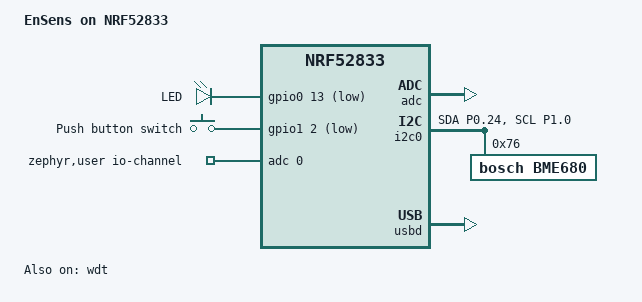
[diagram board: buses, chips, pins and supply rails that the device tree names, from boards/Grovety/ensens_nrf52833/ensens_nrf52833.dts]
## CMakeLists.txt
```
# SPDX-License-Identifier: Apache-2.0

cmake_minimum_required(VERSION 3.20.0)

# Add path to the extra module bme68x_iaq
list(APPEND ZEPHYR_EXTRA_MODULES
  ${CMAKE_CURRENT_SOURCE_DIR}/drivers/sensor
)

find_package(Zephyr REQUIRED HINTS $ENV{ZEPHYR_BASE})

project(EnvironmentalSensor)

target_sources(app PRIVATE src/main.cxx src/ble.c src/led.c src/sensor.cxx src/battery.c)
```

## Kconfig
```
#
# Copyright (c) 2023 Nordic Semiconductor
#
# SPDX-License-Identifier: LicenseRef-Nordic-5-Clause
#

menu "Zephyr"
    source "Kconfig.zephyr"
endmenu

menu "Custom drivers"
    rsource "drivers/Kconfig"
endmenu

module = APP
module-str = APP
source "subsys/logging/Kconfig.template.log_config"
```

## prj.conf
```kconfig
CONFIG_BT=y
CONFIG_BT_SMP=y
CONFIG_BT_SIGNING=y
CONFIG_BT_PERIPHERAL=y
CONFIG_BT_DIS=y
CONFIG_BT_BAS=y
CONFIG_BT_ATT_PREPARE_COUNT=1
CONFIG_BT_PRIVACY=y
CONFIG_BT_CTLR_PHY_2M=n
CONFIG_BT_KEYS_OVERWRITE_OLDEST=y
CONFIG_BT_MAX_CONN=4

CONFIG_BT_DIS_PNP=n
CONFIG_BT_DIS_MODEL="Enviromental sense"
CONFIG_BT_DIS_MANUF="Grovety Inc"
CONFIG_BT_DIS_SERIAL_NUMBER=n
CONFIG_BT_DIS_FW_REV=y
CONFIG_BT_DIS_HW_REV=y
CONFIG_BT_DIS_FW_REV_STR="0.1"
CONFIG_BT_DIS_HW_REV_STR="0.1"
CONFIG_BT_DEVICE_NAME="ES_"
CONFIG_BT_DEVICE_NAME_DYNAMIC=y
CONFIG_BT_DEVICE_NAME_MAX=16
CONFIG_BT_DEVICE_APPEARANCE=768

CONFIG_FLASH=y
CONFIG_FLASH_PAGE_LAYOUT=y
CONFIG_FLASH_MAP=y
CONFIG_NVS=y
CONFIG_SETTINGS=y
CONFIG_POWEROFF=y
CONFIG_ADC=y
CONFIG_SETTINGS_FCB=y
CONFIG_FCB=y
CONFIG_STREAM_FLASH=y
CONFIG_MPU_ALLOW_FLASH_WRITE=y
CONFIG_ASSERT=y
CONFIG_FPU=y
CONFIG_GPIO=y
CONFIG_PM_DEVICE=y
CONFIG_HW_ID_LIBRARY=y
CONFIG_LOG=y

CONFIG_SENSOR=y
CONFIG_SENSOR_INFO=y
CONFIG_BME680=n
CONFIG_I2C=y
CONFIG_CUSTOM_BME68X_IAQ=y
CONFIG_BME68X_IAQ_SAMPLE_RATE_QUICK_ULTRA_LOW_POWER=y

# Enable MCUboot
CONFIG_BOOTLOADER_MCUBOOT=y
# Enable USB subsystem
CONFIG_USB_DEVICE_STACK=y
CONFIG_USB_CDC_ACM_LOG_LEVEL_OFF=y
CONFIG_USB_DEVICE_INITIALIZE_AT_BOOT=n
CONFIG_UART_LINE_CTRL=y
CONFIG_UART_CONSOLE=y
```

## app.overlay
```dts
/*
 * SPDX-License-Identifier: Apache-2.0
 */

/* Choose CDC ACM for console */
/ {
	chosen {
		zephyr,console = &cdc_acm_uart0;
	};
};

/* Configure CDC ACM */
&zephyr_udc0 {
	cdc_acm_uart0: cdc_acm_uart0 {
		compatible = "zephyr,cdc-acm-uart";
	};
};
```

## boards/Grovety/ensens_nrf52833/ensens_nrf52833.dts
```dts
/*
 * Copyright (c) 2025 Grovety Inc
 *
 * SPDX-License-Identifier: Apache-2.0
 */

/dts-v1/;
#include <nordic/nrf52833_qiaa.dtsi>
#include <zephyr/dt-bindings/input/input-event-codes.h>

/ {
	model = "EnSens on NRF52833";
	compatible = "grovety,ensens-nrf52833";

	soc {
		compatible = "nordic,nrf52833",
					 "nordic,nrf52", "simple-bus";
	};

	chosen {
		zephyr,sram = &sram0;
		zephyr,flash = &flash0;
		zephyr,code-partition = &slot0_partition;
	};

	leds {
		compatible = "gpio-leds";
		led0: led_0 {
			gpios = <&gpio0 13 GPIO_ACTIVE_LOW>;
			label = "LED";
		};
	};

	buttons {
		compatible = "gpio-keys";
		button0: button_0 {
			gpios = <&gpio1 2 (GPIO_PULL_UP | GPIO_ACTIVE_LOW)>;
			label = "Push button switch";
		};
	};

	/* These aliases are provided for compatibility with samples */
	aliases {
		led0 = &led0;
		watchdog0 = &wdt0;
		i2c0 = &i2c0;
	};

	zephyr,user {
		io-channels = <&adc 0>;
	};
};

&adc {
	status = "okay";
};

&uicr {
	gpio-as-nreset;
};

&gpiote {
	status = "okay";
};

&gpio0 {
	status = "okay";
};

&gpio1 {
	status = "okay";
};


&i2c0 {

	status = "okay";
	compatible = "nordic,nrf-twim";
	pinctrl-0 = <&i2c0_default>;
	pinctrl-1 = <&i2c0_sleep>;
	pinctrl-names = "default", "sleep";
	bme680: bme680@76 {
		compatible = "bosch,bme680";
		reg = <0x76>;
	};
};

&pinctrl {
	i2c0_default: i2c0_default {
		group1 {
			psels = <NRF_PSEL(TWIM_SDA, 0, 24)>,
					<NRF_PSEL(TWIM_SCL, 1, 0)>;
		};
	};

	i2c0_sleep: i2c0_sleep {
		group1 {
			psels = <NRF_PSEL(TWIM_SDA, 0, 24)>,
					<NRF_PSEL(TWIM_SCL, 1, 0)>;
			low-power-enable;
		};
	};
};

&flash0 {
	partitions {
		compatible = "fixed-partitions";
		#address-cells = <1>;
		#size-cells = <1>;

		boot_partition: partition@0 {
			label = "mcuboot";
			reg = <0x00000000 0xC000>;
		};
		slot0_partition: partition@c000 {
			label = "image-0";
			reg = <0x0000C000 0x37000>;
		};
		slot1_partition: partition@43000 {
			label = "image-1";
			reg = <0x00043000 0x37000>;
		};
		storage_partition: partition@7a000 {
			label = "storage";
			reg = <0x0007A000 0x00006000>;
		};
	};
};

&wdt {
	status = "okay";
};

zephyr_udc0: &usbd {
	compatible = "nordic,nrf-usbd";
	status = "okay";
};
```

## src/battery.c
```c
/*
 * Copyright (c) 2018-2019 Peter Bigot Consulting, LLC
 * Copyright (c) 2019-2020 Nordic Semiconductor ASA
 *
 * SPDX-License-Identifier: Apache-2.0
 */

#include <math.h>
#include <stdio.h>
#include <stdlib.h>

#include <zephyr/kernel.h>
#include <zephyr/init.h>
#include <zephyr/drivers/gpio.h>
#include <zephyr/drivers/adc.h>
#include <zephyr/drivers/sensor.h>
#include <zephyr/logging/log.h>

#include "battery.h"

LOG_MODULE_REGISTER(BATTERY, CONFIG_ADC_LOG_LEVEL);

#define VBATT DT_PATH(vbatt)
#define ZEPHYR_USER DT_PATH(zephyr_user)

#ifdef CONFIG_BOARD_THINGY52_NRF52832
/* This board uses a divider that reduces max voltage to
 * reference voltage (600 mV).
 */
#define BATTERY_ADC_GAIN ADC_GAIN_1
#else
/* Other boards may use dividers that only reduce battery voltage to
 * the maximum supported by the hardware (3.6 V)
 */
#define BATTERY_ADC_GAIN ADC_GAIN_1_6
#endif

struct io_channel_config
{
	uint8_t channel;
};

struct divider_config
{
	struct io_channel_config io_channel;
	struct gpio_dt_spec power_gpios;
	/* output_ohm is used as a flag value: if it is nonzero then
	 * the battery is measured through a voltage divider;
	 * otherwise it is assumed to be directly connected to Vdd.
	 */
	uint32_t output_ohm;
	uint32_t full_ohm;
};

static const struct divider_config divider_config = {
#if DT_NODE_HAS_STATUS_OKAY(VBATT)
	.io_channel = {
		DT_IO_CHANNELS_INPUT(VBATT),
	},
	.power_gpios = GPIO_DT_SPEC_GET_OR(VBATT, power_gpios, {}),
	.output_ohm = DT_PROP(VBATT, output_ohms),
	.full_ohm = DT_PROP(VBATT, full_ohms),
#else  /* /vbatt exists */
	.io_channel = {
		DT_IO_CHANNELS_INPUT(ZEPHYR_USER),
	},
#endif /* /vbatt exists */
};

struct divider_data
{
	const struct device *adc;
	struct adc_channel_cfg adc_cfg;
	struct adc_sequence adc_seq;
	int16_t raw;
};
static struct divider_data divider_data = {
#if DT_NODE_HAS_STATUS_OKAY(VBATT)
	.adc = DEVICE_DT_GET(DT_IO_CHANNELS_CTLR(VBATT)),
#else
	.adc = DEVICE_DT_GET(DT_IO_CHANNELS_CTLR(ZEPHYR_USER)),
#endif
};

static int divider_setup(void)
{
	const struct divider_config *cfg = &divider_config;
	const struct io_channel_config *iocp = &cfg->io_channel;
	const struct gpio_dt_spec *gcp = &cfg->power_gpios;
	struct divider_data *ddp = &divider_data;
	struct adc_sequence *asp = &ddp->adc_seq;
	struct adc_channel_cfg *accp = &ddp->adc_cfg;
	int rc;

	if (!device_is_ready(ddp->adc))
	{
		LOG_ERR("ADC device is not ready %s", ddp->adc->name);
		return -ENOENT;
	}

	if (gcp->port)
	{
		if (!device_is_ready(gcp->port))
		{
			LOG_ERR("%s: device not ready", gcp->port->name);
			return -ENOENT;
		}
		rc = gpio_pin_configure_dt(gcp, GPIO_OUTPUT_INACTIVE);
		if (rc != 0)
		{
			LOG_ERR("Failed to control feed %s.%u: %d",
					gcp->port->name, gcp->pin, rc);
			return rc;
		}
	}

	*asp = (struct adc_sequence){
		.channels = BIT(0),
		.buffer = &ddp->raw,
		.buffer_size = sizeof(ddp->raw),
		.oversampling = 4,
		.calibrate = true,
	};

#ifdef CONFIG_ADC_NRFX_SAADC
	*accp = (struct adc_channel_cfg){
		.gain = BATTERY_ADC_GAIN,
		.reference = ADC_REF_INTERNAL,
		.acquisition_time = ADC_ACQ_TIME(ADC_ACQ_TIME_MICROSECONDS, 40),
	};

	if (cfg->output_ohm != 0)
	{
		accp->input_positive = SAADC_CH_PSELP_PSELP_AnalogInput0 + iocp->channel;
	}
	else
	{
		accp->input_positive = SAADC_CH_PSELP_PSELP_VDD;
	}

	asp->resolution = 14;
#else /* CONFIG_ADC_var */
#error Unsupported ADC
#endif /* CONFIG_ADC_var */

	rc = adc_channel_setup(ddp->adc, accp);
	LOG_INF("Setup AIN%u got %d", iocp->channel, rc);

	return rc;
}

static bool battery_ok;

static int battery_setup(void)
{
	int rc = divider_setup();

	battery_ok = (rc == 0);
	LOG_INF("Battery setup: %d %d", rc, battery_ok);
	return rc;
}

SYS_INIT(battery_setup, APPLICATION, CONFIG_APPLICATION_INIT_PRIORITY);

int battery_measure_enable(bool enable)
{
	int rc = -ENOENT;

	if (battery_ok)
	{
		const struct gpio_dt_spec *gcp = &divider_config.power_gpios;

		rc = 0;
		if (gcp->port)
		{
			rc = gpio_pin_set_dt(gcp, enable);
		}
	}
	return rc;
}

int battery_sample(void)
{
	int rc = -ENOENT;

	if (battery_ok)
	{
		struct divider_data *ddp = &divider_data;
		const struct divider_config *dcp = &divider_config;
		struct adc_sequence *sp = &ddp->adc_seq;

		rc = adc_read(ddp->adc, sp);
		sp->calibrate = false;
		if (rc == 0)
		{
			int32_t val = ddp->raw;

			adc_raw_to_millivolts(adc_ref_internal(ddp->adc),
								  ddp->adc_cfg.gain,
								  sp->resolution,
								  &val);

			if (dcp->output_ohm != 0)
			{
				rc = val * (uint64_t)dcp->full_ohm / dcp->output_ohm;
				LOG_INF("raw %u ~ %u mV => %d mV\n",
						ddp->raw, val, rc);
			}
			else
			{
				rc = val;
				LOG_INF("raw %u ~ %u mV\n", ddp->raw, val);
			}
		}
	}

	return rc;
}

unsigned int battery_level_pptt(unsigned int batt_mV,
								const struct battery_level_point *curve)
{
	const struct battery_level_point *pb = curve;

	if (batt_mV >= pb->lvl_mV)
	{
		/* Measured voltage above highest point, cap at maximum. */
		return pb->lvl_pptt;
	}
	/* Go down to the last point at or below the measured voltage. */
	while ((pb->lvl_pptt > 0) && (batt_mV < pb->lvl_mV))
	{
		++pb;
	}
	if (batt_mV < pb->lvl_mV)
	{
		/* Below lowest point, cap at minimum */
		return pb->lvl_pptt;
	}

	/* Linear interpolation between below and above points. */
	const struct battery_level_point *pa = pb - 1;

	return pb->lvl_pptt + ((pa->lvl_pptt - pb->lvl_pptt) * (batt_mV - pb->lvl_mV) / (pa->lvl_mV - pb->lvl_mV));
}
```

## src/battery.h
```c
/*
 * Copyright (c) 2018-2019 Peter Bigot Consulting, LLC
 *
 * SPDX-License-Identifier: Apache-2.0
 */

#ifndef APPLICATION_BATTERY_H_
#define APPLICATION_BATTERY_H_

#ifdef __cplusplus
extern "C"
{
#endif

	/** Enable or disable measurement of the battery voltage.
	 *
	 * @param enable true to enable, false to disable
	 *
	 * @return zero on success, or a negative error code.
	 */
	int battery_measure_enable(bool enable);

	/** Measure the battery voltage.
	 *
	 * @return the battery voltage in millivolts, or a negative error
	 * code.
	 */
	int battery_sample(void);

	/** A point in a battery discharge curve sequence.
	 *
	 * A discharge curve is defined as a sequence of these points, where
	 * the first point has #lvl_pptt set to 10000 and the last point has
	 * #lvl_pptt set to zero.  Both #lvl_pptt and #lvl_mV should be
	 * monotonic decreasing within the sequence.
	 */
	struct battery_level_point
	{
		/** Remaining life at #lvl_mV. */
		uint16_t lvl_pptt;

		/** Battery voltage at #lvl_pptt remaining life. */
		uint16_t lvl_mV;
	};

	/** Calculate the estimated battery level based on a measured voltage.
	 *
	 * @param batt_mV a measured battery voltage level.
	 *
	 * @param curve the discharge curve for the type of battery installed
	 * on the system.
	 *
	 * @return the estimated remaining capacity in parts per ten
	 * thousand.
	 */
	unsigned int battery_level_pptt(unsigned int batt_mV,
									const struct battery_level_point *curve);

#ifdef __cplusplus
}
#endif

#endif /* APPLICATION_BATTERY_H_ */
```

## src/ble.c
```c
/*
 * Copyright (c) 2025 Grovety Inc
 *
 * SPDX-License-Identifier: Apache-2.0
 */

#include <zephyr/types.h>
#include <zephyr/bluetooth/uuid.h>
#include <zephyr/bluetooth/conn.h>
#include <zephyr/bluetooth/gatt.h>
#include <zephyr/bluetooth/services/bas.h>
#include <zephyr/settings/settings.h>
#include <hw_id.h>
#include <math.h>

#include "ble.h"

#include <zephyr/logging/log.h>

LOG_MODULE_DECLARE(app, CONFIG_APP_LOG_LEVEL);

#define SERVICE_DATA_LEN 18
#define SERVICE_UUID 0xfcd2 /* BTHome service UUID */
#define IDX_BATT 4			/* Index of battery data in service data*/
#define IDX_TEMPL 6			/* Index of lo byte of temp in service data*/
#define IDX_TEMPH 7			/* Index of hi byte of temp in service data*/
#define IDX_HUML 9			/* Index of lo byte of humidity in service data*/
#define IDX_HUMH 10			/* Index of hi byte of humidity in service data*/
#define IDX_PRESSUREL 12	/* Index of lo byte of pressure in service data*/
#define IDX_PRESSUREH 14	/* Index of hi byte of pressure in service data*/
#define IDX_CO2L 16			/* Index of lo byte of co2 in service data*/
#define IDX_CO2H 17			/* Index of hi byte of co2 in service data*/

static int16_t last_temp = 0;
static uint16_t last_humidity = 0;
static uint32_t last_pressure = 0;
static uint16_t last_voc = 0;
static uint16_t last_co2 = 0;
static uint16_t last_iaq = 0;
static uint8_t last_batt = 0;
static uint8_t service_data[SERVICE_DATA_LEN] = {
	BT_UUID_16_ENCODE(SERVICE_UUID),
	0x40,
	0x01, /* Battery */
	0x00,
	0x02, /* Temperature */
	0x00, /* Low byte */
	0x00, /* High byte */
	0x03, /* Humidity */
	0x00, /* Low byte */
	0x00, /* High byte */
	0x04, /* Pressure */
	0x00, /* Low byte */
	0x00,
	0x00, /* High byte */
	0x12, /* CO2 */
	0x00, /* Low byte */
	0x00, /* High byte */
};

static char unique_name[sizeof(CONFIG_BT_DEVICE_NAME) + HW_ID_LEN];

static struct bt_data ad[] = {
	BT_DATA_BYTES(BT_DATA_FLAGS, BT_LE_AD_GENERAL | BT_LE_AD_NO_BREDR),
	BT_DATA(BT_DATA_NAME_COMPLETE, unique_name, 6),
	BT_DATA(BT_DATA_SVC_DATA16, service_data, ARRAY_SIZE(service_data))};

#define ADV_PARAM BT_LE_ADV_PARAM(BT_LE_ADV_OPT_CONNECTABLE | BT_LE_ADV_OPT_USE_IDENTITY, \
								  BT_GAP_ADV_SLOW_INT_MIN,                                \
								  BT_GAP_ADV_SLOW_INT_MAX, NULL)

static ssize_t read_temp(struct bt_conn *conn, const struct bt_gatt_attr *attr,
						 void *buf, uint16_t len, uint16_t offset)
{
	return bt_gatt_attr_read(conn, attr, buf, len, offset, &last_temp,
							 sizeof(last_temp));
}

static ssize_t read_humidity(struct bt_conn *conn, const struct bt_gatt_attr *attr,
							 void *buf, uint16_t len, uint16_t offset)
{
	return bt_gatt_attr_read(conn, attr, buf, len, offset, &last_humidity,
							 sizeof(last_humidity));
}

static ssize_t read_pressure(struct bt_conn *conn, const struct bt_gatt_attr *attr,
							 void *buf, uint16_t len, uint16_t offset)
{
	return bt_gatt_attr_read(conn, attr, buf, len, offset, &last_pressure,
							 sizeof(last_pressure));
}

static ssize_t read_co2(struct bt_conn *conn, const struct bt_gatt_attr *attr,
						void *buf, uint16_t len, uint16_t offset)
{
	return bt_gatt_attr_read(conn, attr, buf, len, offset, &last_co2,
							 sizeof(last_co2));
}

static ssize_t read_voc(struct bt_conn *conn, const struct bt_gatt_attr *attr,
						void *buf, uint16_t len, uint16_t offset)
{
	return bt_gatt_attr_read(conn, attr, buf, len, offset, &last_voc,
							 sizeof(last_voc));
}

static ssize_t read_iaq(struct bt_conn *conn, const struct bt_gatt_attr *attr,
						void *buf, uint16_t len, uint16_t offset)
{
	return bt_gatt_attr_read(conn, attr, buf, len, offset, &last_iaq,
							 sizeof(last_iaq));
}

/* This function is called whenever the CCCD register has been changed by the client*/
static void on_ccc_cfg_changed(const struct bt_gatt_attr *attr,
							   uint16_t value)
{
	ARG_UNUSED(attr);
	switch (value)
	{
	case BT_GATT_CCC_NOTIFY:
		// Start sending stuff!
		break;

	case BT_GATT_CCC_INDICATE:
		// Start sending stuff via indications
		break;

	case 0:
		// Stop sending stuff
		break;

	default:
		printk("Error, CCCD has been set to an invalid value");
	}
}

BT_GATT_SERVICE_DEFINE(ess_svc,
					   BT_GATT_PRIMARY_SERVICE(BT_UUID_ESS),
					   /* Temperature Sensor */
					   BT_GATT_CHARACTERISTIC(BT_UUID_TEMPERATURE,
											  BT_GATT_CHRC_READ | BT_GATT_CHRC_NOTIFY,
											  BT_GATT_PERM_READ,
											  read_temp, NULL, NULL),
					   BT_GATT_CCC(on_ccc_cfg_changed,
								   BT_GATT_PERM_READ | BT_GATT_PERM_WRITE),
					   BT_GATT_CHARACTERISTIC(BT_UUID_HUMIDITY,
											  BT_GATT_CHRC_READ | BT_GATT_CHRC_NOTIFY,
											  BT_GATT_PERM_READ,
											  read_humidity, NULL, NULL),
					   BT_GATT_CCC(on_ccc_cfg_changed,
								   BT_GATT_PERM_READ | BT_GATT_PERM_WRITE),
					   BT_GATT_CHARACTERISTIC(BT_UUID_PRESSURE,
											  BT_GATT_CHRC_READ | BT_GATT_CHRC_NOTIFY,
											  BT_GATT_PERM_READ,
											  read_pressure, NULL, NULL),
					   BT_GATT_CCC(on_ccc_cfg_changed,
								   BT_GATT_PERM_READ | BT_GATT_PERM_WRITE),
					   BT_GATT_CHARACTERISTIC(BT_UUID_GATT_CO2CONC,
											  BT_GATT_CHRC_READ | BT_GATT_CHRC_NOTIFY,
											  BT_GATT_PERM_READ,
											  read_co2, NULL, NULL),
					   BT_GATT_CCC(on_ccc_cfg_changed,
								   BT_GATT_PERM_READ | BT_GATT_PERM_WRITE),
					   BT_GATT_CHARACTERISTIC(BT_UUID_GATT_VOCCONC,
											  BT_GATT_CHRC_READ | BT_GATT_CHRC_NOTIFY,
											  BT_GATT_PERM_READ,
											  read_voc, NULL, NULL),
					   BT_GATT_CCC(on_ccc_cfg_changed,
								   BT_GATT_PERM_READ | BT_GATT_PERM_WRITE),
					   BT_GATT_CHARACTERISTIC(BT_UUID_GATT_IAQ,
											  BT_GATT_CHRC_READ | BT_GATT_CHRC_NOTIFY,
											  BT_GATT_PERM_READ,
											  read_iaq, NULL, NULL),
					   BT_GATT_CCC(on_ccc_cfg_changed,
								   BT_GATT_PERM_READ | BT_GATT_PERM_WRITE), );

static uint16_t clamp_float_to_uint16(float value)
{
	float new_value = value;
	if (new_value < 0.0f)
	{
		new_value = 0.0f;
	}
	else if (new_value > 65535.0f)
	{
		return new_value = 65535.0f;
	}
	return (uint16_t)new_value;
}

int bt_init()
{
	int err = 0;

	// fill ID
	char buf[HW_ID_LEN];
	hw_id_get(buf, HW_ID_LEN);

	memcpy(unique_name, CONFIG_BT_DEVICE_NAME, sizeof(CONFIG_BT_DEVICE_NAME));

	if (IS_ENABLED(CONFIG_SETTINGS))
	{
		settings_load();
	}

	memcpy(&unique_name[3], &buf[HW_ID_LEN - 4], 3);

	err = bt_le_adv_start(ADV_PARAM, ad, ARRAY_SIZE(ad), NULL, 0);
	if (err)
	{
		LOG_ERR("Failed to start the Bluetooth advertisement (err %d)", err);
	}
	bt_set_name(unique_name);
	bt_le_adv_update_data(ad, ARRAY_SIZE(ad), NULL, 0);

	return err;
}

void bt_set_temperature(float temp)
{
	int16_t new_value = (int16_t)(temp * 100.0f);
	if (last_temp != new_value)
	{
		last_temp = new_value;
		service_data[IDX_TEMPH] = last_temp >> 8;
		service_data[IDX_TEMPL] = last_temp & 0xff;

		struct bt_gatt_attr *attr;
		attr = bt_gatt_find_by_uuid(ess_svc.attrs, ess_svc.attr_count, BT_UUID_TEMPERATURE);
		bt_gatt_notify(NULL, attr, &last_temp, sizeof(last_temp));
	}
}

void bt_set_humidity(float humidity)
{
	uint16_t new_value = (uint16_t)(humidity * 100.0f);
	if (last_humidity != new_value)
	{
		last_humidity = new_value;
		service_data[IDX_HUMH] = last_humidity >> 8;
		service_data[IDX_HUML] = last_humidity & 0xff;

		struct bt_gatt_attr *attr;
		attr = bt_gatt_find_by_uuid(ess_svc.attrs, ess_svc.attr_count, BT_UUID_HUMIDITY);
		bt_gatt_notify(NULL, attr, &last_humidity, sizeof(last_humidity));
	}
}

void bt_set_pressure(float pressure)
{
	uint32_t new_value = (uint32_t)pressure;
	if (last_pressure != new_value)
	{
		last_pressure = new_value;
		service_data[IDX_PRESSUREH] = last_pressure >> 16 & 0xff;
		service_data[IDX_PRESSUREL + 1] = last_pressure >> 8 & 0xff;
		service_data[IDX_PRESSUREL] = last_pressure & 0xff;

		struct bt_gatt_attr *attr;
		attr = bt_gatt_find_by_uuid(ess_svc.attrs, ess_svc.attr_count, BT_UUID_PRESSURE);
		bt_gatt_notify(NULL, attr, &last_pressure, sizeof(last_pressure));
	}
}

void bt_set_co2(float co2)
{
	uint16_t new_value = clamp_float_to_uint16(co2);
	if (last_co2 != new_value)
	{
		last_co2 = new_value;
		service_data[IDX_CO2H] = last_co2 >> 8;
		service_data[IDX_CO2L] = last_co2 & 0xff;

		struct bt_gatt_attr *attr;
		attr = bt_gatt_find_by_uuid(ess_svc.attrs, ess_svc.attr_count, BT_UUID_GATT_CO2CONC);
		bt_gatt_notify(NULL, attr, &last_co2, sizeof(last_co2));
	}
}

void bt_set_voc(float voc)
{
	uint16_t new_value = clamp_float_to_uint16(voc * 1000.0f);
	if (last_voc != new_value)
	{
		last_voc = new_value;

		struct bt_gatt_attr *attr;
		attr = bt_gatt_find_by_uuid(ess_svc.attrs, ess_svc.attr_count, BT_UUID_GATT_VOCCONC);
		bt_gatt_notify(NULL, attr, &last_voc, sizeof(last_voc));
	}
}

void bt_set_iaq(uint16_t iaq)
{
	if (last_iaq != iaq)
	{
		last_iaq = iaq;

		struct bt_gatt_attr *attr;
		attr = bt_gatt_find_by_uuid(ess_svc.attrs, ess_svc.attr_count, BT_UUID_GATT_IAQ);
		bt_gatt_notify(NULL, attr, &last_iaq, sizeof(last_iaq));
	}
}

void bt_set_battery(uint8_t batt)
{
	if (last_batt != batt)
	{
		last_batt = batt;
		service_data[IDX_BATT] = batt;
		bt_bas_set_battery_level(batt);
	}
}

static int connectionNumber = 0;

static void connected(struct bt_conn *conn, uint8_t err)
{
	if (!err)
	{
		connectionNumber++;
	}
}

static void disconnected(struct bt_conn *conn, uint8_t reason)
{
	connectionNumber--;
}

bool bt_connection_exists()
{
	return connectionNumber > 0;
}

void update_advertise_data()
{
	int err = bt_le_adv_update_data(ad, ARRAY_SIZE(ad), NULL, 0);
	if (err)
	{
		LOG_ERR("Failed to update the Bluetooth advertisement data (err %d)", err);
	}
}

BT_CONN_CB_DEFINE(conn_callbacks) = {
	.connected = connected,
	.disconnected = disconnected};
```

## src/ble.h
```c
/*
 * Copyright (c) 2025 Grovety Inc
 *
 * SPDX-License-Identifier: Apache-2.0
 */

#pragma once

#include <zephyr/bluetooth/bluetooth.h>

#ifdef __cplusplus
extern "C"
{
#endif

/**
 *  @brief GATT Characteristic IAQ UUID Value
 */
#define BT_UUID_GATT_IAQ_VAL 0xDA, 0xA7, 0xBD, 0x48, 0x12, 0x12, 0xBA, 0x82, \
                             0xD6, 0x43, 0x86, 0x12, 0x98, 0x05, 0x89, 0xE2
/**
 *  @brief GATT Characteristic IAQ
 */
#define BT_UUID_GATT_IAQ \
    BT_UUID_DECLARE_128(BT_UUID_GATT_IAQ_VAL)

    /**
     * @brief Initializes the Bluetooth, starts advertising.
     *
     * @return 0 if success, error code if failure.
     */
    int bt_init();

    /**
     * @brief Sets the temperature value for Bluetooth transmission.
     *
     * @param temp Temperature value to set, in degrees Celsius.
     */
    void bt_set_temperature(float temp);

    /**
     * @brief Sets the humidity value for Bluetooth transmission.
     *
     * @param humidity Humidity value to set, in percentage.
     */
    void bt_set_humidity(float humidity);

    /**
     * @brief Sets the pressure value for Bluetooth transmission.
     *
     * @param pressure Pressure value to set, in Pa (Pascals).
     */
    void bt_set_pressure(float pressure);

    /**
     * @brief Sets the CO2 level for Bluetooth transmission.
     *
     * @param co2 CO2 level to set, in ppm (parts per million).
     */
    void bt_set_co2(float co2);

    /**
     * @brief Sets the VOC level for Bluetooth transmission.
     *
     * @param voc VOC level to set, in ppb (parts per billion).
     */
    void bt_set_voc(float voc);

    /**
     * @brief Sets the Index for Air Quality (IAQ) for Bluetooth transmission.
     *
     * @param iaq IAQ to set.
     */
    void bt_set_iaq(uint16_t iaq);

    /**
     * @brief Sets the battery level for Bluetooth transmission.
     *
     * @param batt Battery level to set, in percentage.
     */
    void bt_set_battery(uint8_t batt);

    /**
     * @brief Checks if a Bluetooth connection exists.
     *
     * @return true if a connection exists, false otherwise.
     */
    bool bt_connection_exists();

    /**
     * @brief Updates the Bluetooth advertising data.
     */
    void update_advertise_data();

#ifdef __cplusplus
}
#endif
```

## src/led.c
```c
/*
 * Copyright (c) 2025 Grovety Inc
 *
 * SPDX-License-Identifier: Apache-2.0
 */

#include <zephyr/kernel.h>
#include <zephyr/logging/log.h>
LOG_MODULE_DECLARE(app, CONFIG_APP_LOG_LEVEL);

#include "led.h"

int led_init(const struct gpio_dt_spec *led)
{
	int err = 0;
	if (!gpio_is_ready_dt(led))
	{
		LOG_ERR("LED GPIO port is not ready");
		return -1;
	}
	err = gpio_pin_configure_dt(led, GPIO_OUTPUT_INACTIVE);
	if (err)
	{
		LOG_ERR("Failed to configure LED pin (err %d)", err);
		return err;
	}

	return err;
}

void blink_led(const struct gpio_dt_spec *led, uint32_t turn_on_time)
{
	gpio_pin_set_dt(led, 1);
	k_sleep(K_MSEC(turn_on_time));
	gpio_pin_set_dt(led, 0);
}
```

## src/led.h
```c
/*
 * Copyright (c) 2025 Grovety Inc
 *
 * SPDX-License-Identifier: Apache-2.0
 */

#pragma once

#include <zephyr/drivers/gpio.h>

#ifdef __cplusplus
extern "C"
{
#endif

/* The devicetree node identifier for the "led0" alias. */
#define LED0_NODE DT_ALIAS(led0)

    static const struct gpio_dt_spec led = GPIO_DT_SPEC_GET(LED0_NODE, gpios);

    /**
     * @brief Initializes an LED.
     *
     * @param led Pointer to the LED to initialize.
     *
     * @return 0 if success, error code if failure.
     */
    int led_init(const struct gpio_dt_spec *led);

    /**
     * @brief Blinks an LED for a specified duration.
     *
     * @param led Pointer to the LED to blink.
     * @param turn_on_time Duration for which the LED stays on, in milliseconds.
     */
    void blink_led(const struct gpio_dt_spec *led, uint32_t turn_on_time);

#ifdef __cplusplus
}
#endif
```
